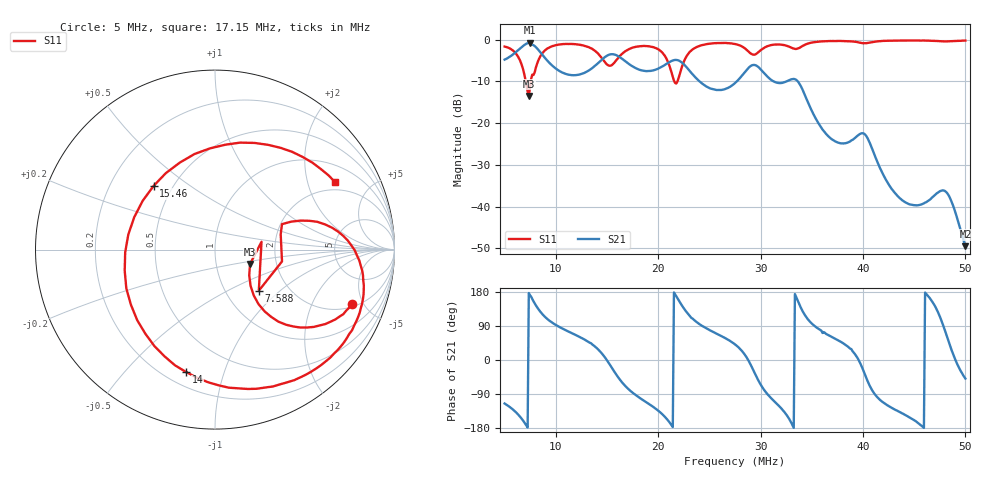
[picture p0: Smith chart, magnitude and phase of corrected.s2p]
! S11/S21 only; reverse parameters are placeholders. Device calibration unverified.
! [Saver CAL applied] C:\Users\aknya\MyProjects\rf-simulator\calibration2.cal | Ideal standards assumed | Input: NanoVNA F V2 profile | COM3 | 2026-09-08T10:43:29.4193839-04:00 | device calibration unverified
# HZ S RI R 50
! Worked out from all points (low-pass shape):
!   401 points, 5 MHz to 50 MHz, reference 50 ohm
!   highest |S21| = -0.79 dB at 7.475 MHz (marker M1); lowest = -49.5 dB at 50 MHz (marker M2)
!   |S21| within 3 dB of the highest: 5.706 MHz to 8.732 MHz (3.026 MHz wide, 41.9 % of centre); 15.07 MHz to 15.94 MHz (869.9 kHz wide, 5.61 % of centre)
!   lowest |S11| = -13.5 dB at 7.362 MHz (marker M3), VSWR 1.53, Z = 73.1 - j12.2 ohm
!   |S11| at or under -10 dB: 7.062 MHz to 7.561 MHz (499.2 kHz wide, 6.83 % of centre); 21.57 MHz to 21.89 MHz (316.4 kHz wide, 1.46 % of centre)
!   S12 and S22 are empty: the file has one direction only
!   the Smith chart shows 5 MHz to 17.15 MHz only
!   S11 on the Smith chart (normalised r, x): 5 MHz: 2.19, -4.12; 7.588 MHz: 1.42, -0.73; 14 MHz: 0.28, -0.75; 15.46 MHz: 0.39, +0.37; 17.15 MHz: 1.65, +3.00
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5000000  0.7651 -0.3035  -0.2412 -0.5214  0 0  0 0
7362500  0.1953 -0.0798  -0.9104 0.0512  0 0  0 0
7475000  0.2593 0.0435  -0.9026 0.1377  0 0  0 0
7587500  0.2441 -0.229  -0.8612 0.1955  0 0  0 0
9725000  0.8246 -0.1433  -0.0598 0.4746  0 0  0 0
1.25375e7  0.4765 -0.7115  0.2064 0.3289  0 0  0 0
1.4e7  -0.1596 -0.6829  0.4309 0.2627  0 0  0 0
1.54625e7  -0.3423 0.3546  0.6259 -0.2302  0 0  0 0
1.715e7  0.6697 0.375  0.1041 -0.4976  0 0  0 0
2.0075e7  0.5078 -0.5579  -0.3217 -0.3189  0 0  0 0
2.165e7  -0.3 -0.0352  -0.5656 0.0653  0 0  0 0
2.2775e7  0.308 0.5529  -0.2758 0.3744  0 0  0 0
2.44625e7  0.844 0.2026  0.014 0.2861  0 0  0 0
2.75e7  0.8268 -0.3112  0.2261 0.1983  0 0  0 0
2.9075e7  0.6013 -0.3065  0.469 -0.1243  0 0  0 0
3.00875e7  0.7274 -0.2109  0.1569 -0.3989  0 0  0 0
3.3125e7  0.659 -0.4289  -0.3333 -0.0439  0 0  0 0
3.50375e7  0.7796 -0.4905  -0.0122 0.1363  0 0  0 0
4.02125e7  0.56 -0.7074  0.0557 -0.0467  0 0  0 0
4.2575e7  0.5242 -0.8102  -0.00965 -0.015  0 0  0 0
4.80875e7  0.2953 -0.9014  0.0049 0.0142  0 0  0 0
5e7  0.2396 -0.9412  0.0022 -0.00253  0 0  0 0
